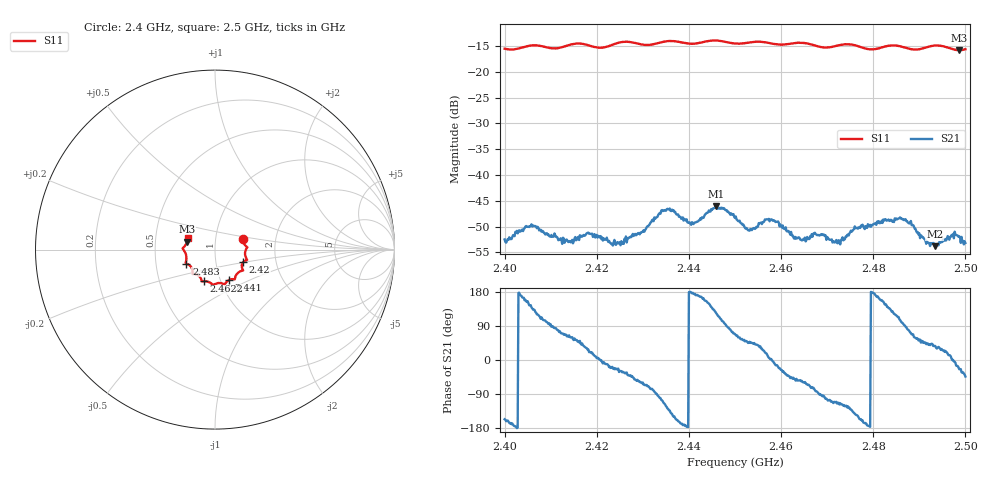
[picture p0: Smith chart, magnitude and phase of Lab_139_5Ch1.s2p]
# Hz S RI R 50
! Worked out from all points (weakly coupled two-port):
!   601 points, 2.4 GHz to 2.5 GHz, reference 50 ohm
!   highest |S21| = -46.05 dB at 2.4458 GHz (marker M1); lowest = -53.8 dB at 2.4933 GHz (marker M2)
!   lowest |S11| = -15.8 dB at 2.4987 GHz (marker M3), VSWR 1.39, Z = 36.4 + j3.31 ohm
!   |S11| at or under -10 dB: start of sweep to end of sweep
!   S12 and S22 are empty: the file has one direction only
!   S11 on the Smith chart (normalised r, x): 2.4 GHz: 1.36, +0.17; 2.42 GHz: 1.36, -0.20; 2.441 GHz: 1.09, -0.39; 2.4622 GHz: 0.83, -0.30; 2.483 GHz: 0.72, -0.12; 2.5 GHz: 0.73, +0.09
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2.4e9  0.156 0.0601  -0.00217 -0.000949  0 0  0 0
2.406e9  0.1797 0.0135  -0.00228 0.00219  0 0  0 0
2.412e9  0.1682 -0.0309  0.000588 0.00228  0 0  0 0
2.416667e9  0.1776 -0.0582  0.00195 0.00168  0 0  0 0
2.42e9  0.1567 -0.0707  0.00261 0.000215  0 0  0 0
2.425333e9  0.1567 -0.1141  0.00199 -0.00112  0 0  0 0
2.433333e9  0.1128 -0.1527  -0.000352 -0.00408  0 0  0 0
2.435833e9  0.111 -0.1646  -0.00324 -0.00345  0 0  0 0
2.441e9  0.0767 -0.1705  -0.00333 0.000289  0 0  0 0
2.445833e9  0.0521 -0.1941  -0.00284 0.00409  0 0  0 0
2.45e9  0.0264 -0.1861  0.00142 0.00356  0 0  0 0
2.452667e9  0.00185 -0.1908  0.00199 0.00221  0 0  0 0
2.4575e9  -0.0213 -0.1885  0.00355 0.000282  0 0  0 0
2.462167e9  -0.0634 -0.1765  0.00197 -0.002  0 0  0 0
2.466667e9  -0.0764 -0.1667  0.000848 -0.00254  0 0  0 0
2.472667e9  -0.1192 -0.1363  -0.00105 -0.00201  0 0  0 0
2.483e9  -0.1595 -0.078  -0.00278 0.00231  0 0  0 0
2.483333e9  -0.1609 -0.0774  -0.00271 0.00253  0 0  0 0
2.486833e9  -0.1607 -0.0608  -8e-05 0.00367  0 0  0 0
2.493333e9  -0.1797 0.00436  0.00162 0.00124  0 0  0 0
2.498667e9  -0.1555 0.0443  0.00232 -0.00105  0 0  0 0
2.5e9  -0.1527 0.0631  0.00159 -0.00151  0 0  0 0
